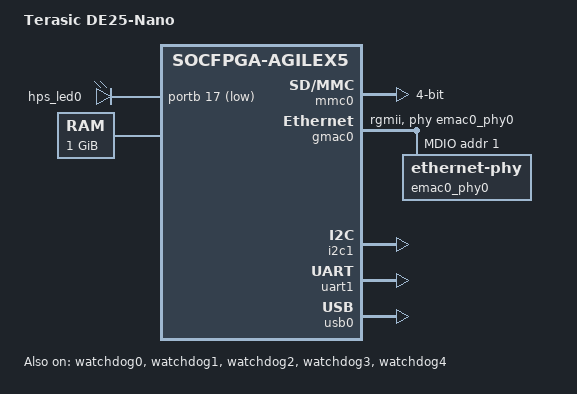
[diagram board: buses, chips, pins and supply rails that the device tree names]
// SPDX-License-Identifier: GPL-2.0-only
/*
 * Terasic DE25-Nano — Intel/Altera Agilex 5 (A5EB013BB23BE4S)
 *
 * Board device tree for MAINLINE Linux 7.2.x.  Authored against
 * arch/arm64/boot/dts/intel/socfpga_agilex5.dtsi as shipped in 7.2.2; every
 * node below is reconciled against the driver mainline actually binds, not
 * against what a vendor tree binds.  See docs/de25-dts-rationale.md for the
 * node-by-node provenance table and the SMMU/mmc0 decision.
 *
 * Reference files this was harvested from (all read-only, none copied
 * verbatim):
 *   TERASIC  github.com/terasic/linux-socfpga @ de25-nano-6.12.11-lts
 *            arch/arm64/boot/dts/intel/socfpga_agilex5_de25_nano.dts (+ .dtsi)
 *   ALTERA   github.com/altera-fpga/linux-socfpga @ socfpga-6.18.20-lts
 *            arch/arm64/boot/dts/intel/socfpga_agilex5_de25_nano.dts (+ .dtsi)
 *   FRIEND   /mnt/source/de25-linux (6.18.38 + vendor backports)
 *            arch/arm64/boot/dts/intel/socfpga_agilex5_de25_nano.dts (+ .dtsi)
 *   MAINLINE linux-7.2.2 arch/arm64/boot/dts/intel/socfpga_agilex5{,_socdk}.dts
 *
 * Copyright (C) 2023, Intel Corporation           (upstream socfpga_agilex5)
 * Copyright (C) 2025, Altera Corporation          (DE25-Nano board wiring)
 */

#include "arm64/intel/socfpga_agilex5.dtsi"

/ {
	/*
	 * MAINLINE + TERASIC + ALTERA + FRIEND all use the SoCDK compatible.
	 * It is factually wrong for a DE25-Nano, but the Agilex 5 board list in
	 * Documentation/devicetree/bindings/arm/altera.yaml is a closed five-value
	 * enum, so a "terasic,de25-nano" string would fail dtbs_check and buy
	 * nothing: arm64 has no machine-match table, so no code reads this.
	 * Board identity lives in "model" until an upstream altera.yaml patch lands.
	 */
	model = "Terasic DE25-Nano";
	compatible = "intel,socfpga-agilex5-socdk", "intel,socfpga-agilex5";

	aliases {
		/* Console UART: uart1 (serial@10c02100).  TERASIC, ALTERA and FRIEND
		 * all agree; MAINLINE's socdk board uses uart0, which is a different
		 * board.  See docs/de25-dts-rationale.md §"Console UART". */
		serial0 = &uart1;
		/* ethernet0 is LOAD-BEARING, not cosmetic: U-Boot's
		 * fdt_fixup_ethernet() walks /aliases for ethernetN and writes
		 * $ethaddr into the node it names.  Same lesson as the DE10
		 * (docs/dts-comparison.md §3.3).  TERASIC + ALTERA + FRIEND. */
		ethernet0 = &gmac0;
		/* ALTERA only.  Pins the sole enabled i2c adapter to /dev/i2c-1
		 * instead of letting it float on dynamic numbering — the DE10's
		 * A14 lesson (docs/dts-comparison.md §2) is that i2c adapter
		 * numbering is worth making deterministic. */
		i2c1 = &i2c1;
	};

	chosen {
		stdout-path = "serial0:115200n8";	/* TERASIC + ALTERA + FRIEND */
		/*
		 * No bootargs.  TERASIC and FRIEND carry a stale string whose
		 * console=/earlycon= name uart0's address (0x10c02000) while their
		 * own stdout-path names uart1 — self-contradictory, and dead in any
		 * case because U-Boot's fdt_chosen() overwrites /chosen/bootargs
		 * from $bootargs.  ALTERA's 2025 in-house file dropped it; so do we.
		 */
	};

	leds {
		compatible = "gpio-leds";

		/*
		 * Node name from ALTERA.  TERASIC/FRIEND call it "hps0", which does
		 * not match leds-gpio.yaml's child pattern "(^led-[0-9a-f]$|led)"
		 * and is therefore rejected by that binding's additionalProperties.
		 * The class-device name comes from "label", not the node name, so
		 * /sys/class/leds/hps_led0 is unchanged — same ABI as the DE10.
		 */
		led-0 {
			label = "hps_led0";
			gpios = <&portb 17 GPIO_ACTIVE_LOW>;	/* TERASIC + ALTERA + FRIEND */
		};
	};

	/*
	 * MAINLINE's socfpga_agilex5.dtsi has no memory node, so the board file
	 * must supply one.  1 GiB at 0x8000_0000 matches the *UM* and the DE25
	 * U-Boot DTS constant (de25-uboot-socfpga:.../socfpga_agilex5_de25_nano-
	 * u-boot.dtsi, "/* 1GB *\/  reg = <0 0x80000000 0 0x40000000>").
	 *
	 * Be precise about what that is: a DECLARED CONSTANT, not a measurement.
	 * The real size comes from the IO96B controller at runtime —
	 * sdram_agilex5.c computes hw_size from io96b_ctrl->overall_size, caps
	 * the DT value at it, and prints "DDR: Warning ..." on any mismatch —
	 * and U-Boot then rewrites Linux's node wholesale from bi_dram
	 * (arch/arm/lib/bootm-fdt.c fdt_fixup_memory_banks(),
	 * CONFIG_ARCH_FIXUP_FDT_MEMORY default y).  So this value is a fallback
	 * that only matters if that fixup does not run.
	 *
	 * It is still the right value to state.  TERASIC and FRIEND hard-code
	 * 2 GiB, which over-claims on a 1 GiB board; ALTERA and MAINLINE's socdk
	 * declare size 0, which boots nothing if the fixup is skipped.
	 * Under-claiming degrades gracefully where neither of those does.
	 * First-boot action: capture U-Boot's "DDR:" lines and confirm.
	 *
	 * Note the consequence for DMA: all DRAM lives in
	 * 0x8000_0000..0xBFFF_FFFF, i.e. entirely inside 32 bits.
	 */
	memory@80000000 {
		device_type = "memory";
		reg = <0x0 0x80000000 0x0 0x40000000>;
	};

	/*
	 * FPGA region.  Absent from every mainline base and authored here
	 * (docs/de25-implementation-path.md §3.1).
	 *
	 * Deliberately NO fpga-bridges property and NO bridge nodes: the
	 * Cyclone V fpga_bridge0..3 shape has no Agilex analogue and must not be
	 * transliterated (docs/de25-fpga-reconfig.md §4.2).  The SDM handles
	 * bridge state itself.
	 *
	 * config-complete-timeout-us is deliberately NOT set here — it belongs on
	 * the per-core OVERLAY, not on the base region (docs/de25-fpga-reconfig.md
	 * §4.3); of-fpga-region.c only reads it from the overlay's target.
	 */
	base_fpga_region: fpga-region {
		compatible = "fpga-region";
		#address-cells = <0x2>;
		#size-cells = <0x2>;
		fpga-mgr = <&fpga_mgr>;
	};
};

/*
 * MAINLINE 7.x ships /firmware/svc with compatible = "intel,agilex5-svc",
 * method = "smc", memory-region = <&service_reserved> and iommus = <&smmu 10>.
 * ALL of that is inherited unchanged — including the compatible.
 *
 * DEPENDENCY, stated plainly: "intel,agilex5-svc" is in the binding's enum but
 * has never been in stratix10_svc_drv_match[], so on a STOCK 7.2 kernel this
 * node is inert — of_platform_populate() skips it, no service device is
 * created, and the fpga-mgr child below has nothing to attach to.  This DTS
 * therefore depends on linux-patches/0102, which adds the match entry (or on
 * the equivalent landing upstream).  If 0102 is ever dropped, the fallback is a
 * one-line override here to compatible = "intel,agilex-svc", which is in both
 * the match table and the enum; see docs/de25-dts-rationale.md.
 *
 * Keeping the agilex5 string also keeps the binding's allOf satisfied: it
 * *requires* iommus for that compatible, and the inherited iommus = <&smmu 10>
 * supplies it.
 *
 * Three structural constraints ride on this subtree and are all satisfied by
 * MAINLINE's node shape, which we inherit rather than re-author:
 *   1. the node must literally be named "svc"      — stratix10-soc.c:471
 *      of_find_node_by_name(NULL, "svc")
 *   2. its parent must literally be named "firmware" — stratix10-svc.c:2086
 *      of_find_node_by_name(NULL, "firmware")
 *   3. method = "smc" must be present or probe fails -ENXIO — get_invoke_func()
 */
&{/firmware/svc} {
	/*
	 * Two-string fallback form.  OF matching walks the whole compatible list
	 * (drivers/of/base.c __of_device_is_compatible), and stratix10-soc.c's
	 * match table carries no per-compatible .data and never branches on which
	 * entry matched, so a fallback match is functionally identical to an exact
	 * one.  This binds the STOCK, unpatched driver.
	 *
	 * It does warn under dtbs_check today because
	 * intel,stratix10-soc-fpga-mgr.yaml is still a plain two-value enum;
	 * Khairul's v6 binding patch, which turns it into the items/oneOf form,
	 * has not landed at 7.2 or at master.  Accepted per
	 * docs/de25-implementation-path.md §2.5 — the warning disappears when that
	 * binding lands, and dropping the agilex5 string would lose SoC identity.
	 */
	fpga_mgr: fpga-mgr {
		compatible = "intel,agilex5-soc-fpga-mgr",
			     "intel,agilex-soc-fpga-mgr";
	};
};

/*
 * SMMU: DISABLED for wave 1 — a deliberate divergence from TERASIC, ALTERA and
 * FRIEND, all three of which set status = "okay".  This is MAINLINE 7.2's own
 * default (the node is enabled at master), and it is not a convenience: with
 * the SMMU ON, mainline's FPGA-configuration path CANNOT work on this SoC.
 *
 * Why, traced through mainline 7.2.2 source:
 *   - stratix10-svc.c:865-869  takes the shared-buffer address straight out of
 *     the INTEL_SIP_SMC_FPGA_CONFIG_GET_MEM SMC return (res.a1/res.a2).
 *   - :956                     devm_memremap()s that PHYSICAL address.
 *   - :1873-1876               gen_pool_virt_to_phys() puts PHYSICAL addresses
 *                              in the pool; :1780 copies one into pdata->paddr.
 *   - :607 (RECONFIG_DATA_SUBMIT) and :655 (FCS) hand that raw physical
 *     address to the SDM as SMC argument a1.
 *   - grep iommu_map|dma_map_single|dma_alloc over the whole file -> 0 hits.
 * Meanwhile the svc device inherits iommus = <&smmu 10>, and
 * arm_smmu_def_domain_type() (arm-smmu-v3.c:4294-4304) returns 0 for anything
 * non-PCI, so the core gives it the build default IOMMU_DEFAULT_DMA_STRICT —
 * a TRANSLATED domain over an empty page table.  Those physical addresses are
 * then unmapped IOVAs and the first RECONFIG_DATA_SUBMIT faults.
 *
 * That SDM traffic really does traverse the SMMU is not an assumption: it is
 * exactly what Terasic's vendor svc compensates for (IOVA carveout +
 * iommu_map(), a +0x80000000 offset, and an SDM remapper disable), none of
 * which exists in mainline at 6.18.44, 7.2 or master.
 *
 * SMMU-OFF is therefore the only configuration in which mainline's svc layer
 * can possibly program this fabric.  It is not *proven* to work either — the
 * vendor driver hard-fails without the SMMU, and mainline never touches the
 * remapper — but it is the leg to test first (de25-implementation-path.md
 * §2.6 step 4), and the closest supporting evidence is the friend's
 * iommu.passthrough=1 cold boot reaching a login prompt.
 *
 * Every iommus property in the tree is KEPT and simply goes inert:
 * of_iommu_xlate() returns -ENODEV for an unavailable IOMMU node
 * (drivers/iommu/of_iommu.c:28-29) and of_iommu_configure() treats -ENODEV as
 * "this device has no IOMMU", not as an error.  Every master then DMAs
 * physically, which is safe here because all DRAM is below 4 GiB.
 *
 * ALTERNATIVE, for the second leg of the §2.6 test — swap the line below for:
 *
 *	&smmu { status = "okay"; };
 *
 * and change NOTHING else.  Every iommus property (gmac0 1, mmc0 5, usb0 6,
 * dmac0 8, dmac1 9, svc 10) is already present and correct for that shape, and
 * it must stay that way: arm_smmu_init_initial_stes() fills EVERY stream-table
 * entry with arm_smmu_make_abort_ste() (arm-smmu-v3.c:1925-1934), so under an
 * ENABLED SMMU a master with no iommus property does not bypass — it aborts.
 */
&smmu {
	status = "disabled";
};

&soc {
	/*
	 * mmc0 is absent from EVERY mainline base (6.18.44, 7.2, master) and is
	 * the SD-boot gate.  Authored here in SD4HC form.
	 *
	 * reg / interrupts / resets / clocks / iommus / dma-coherent are
	 * byte-identical in TERASIC (:851-865) and FRIEND (:384-398), and ALTERA
	 * agrees on all of them except the reset list.  ALTERA's node is NOT
	 * usable: it declares "altr,agilex5-sd6hc","cdns,sd6hc", and cdns,sd6hc
	 * exists nowhere in mainline — it targets Altera's out-of-tree SD6HC
	 * driver rewrite (docs/de25-implementation-path.md §4.1).
	 *
	 * The compatible must be exactly this pair, vendor string FIRST:
	 * that is the items:[enum, const] form linux-patches/0101 adds to
	 * cdns,sdhci.yaml, and with 0101 applied the first entry wins and
	 * installs the 40-bit DMA mask.  A lone "cdns,sd4hc" would still bind —
	 * its absent .data is an explicitly supported path, sdhci_cdns_probe()
	 * falls back to &sdhci_cdns_drv_data on NULL — but it would bind
	 * SILENTLY WITHOUT the mask, which is the §8 Q2 failure.  On a stock
	 * 7.2.2 without 0101 the node degrades to exactly that, i.e. to today's
	 * behaviour, rather than failing to probe.
	 */
	mmc0: mmc@10808000 {
		compatible = "intel,agilex5-sd4hc", "cdns,sd4hc";
		reg = <0x10808000 0x1000>;			/* TERASIC + ALTERA + FRIEND */
		interrupts = <GIC_SPI 96 IRQ_TYPE_LEVEL_HIGH>;	/* TERASIC + ALTERA + FRIEND */
		resets = <&rst SDMMC_RESET>;			/* TERASIC + FRIEND */
		clocks = <&clkmgr AGILEX5_L4_MP_CLK>,		/* biu — TERASIC + ALTERA + FRIEND */
			 <&clkmgr AGILEX5_SDMCLK>;		/* ciu — TERASIC + ALTERA + FRIEND */
		clock-names = "biu", "ciu";

		/*
		 * SMMU decision (docs/de25-implementation-path.md §8 Q2).  KEPT, but
		 * INERT as shipped: &smmu is disabled above, so of_iommu_xlate()
		 * returns -ENODEV and mmc0 DMAs physically.  The property stays
		 * because it is correct hardware description and because it is
		 * mandatory the moment anyone flips &smmu to "okay" — under an
		 * enabled SMMU an undescribed master aborts rather than bypasses.
		 * With the SMMU off, the §8 Q2 40-bit truncation cannot bite at all:
		 * every DRAM address on this board is below 4 GiB.  linux-patches/0101
		 * is still correct and still wanted — it is what makes the SMMU-on leg
		 * of the §2.6 test survivable — it is just not load-bearing here.
		 */
		iommus = <&smmu 5>;				/* TERASIC + ALTERA + FRIEND */
		/*
		 * KEPT.  Corroborated inside MAINLINE itself: the sibling nand
		 * controller on this same SoC carries dma-coherent in
		 * socfpga_agilex5.dtsi:315, which is upstream's own statement that
		 * Agilex 5 HPS peripheral masters are coherent.  All three vendor
		 * trees agree.
		 *
		 * Caveat now that the SMMU is off: the vendor trees all assert this
		 * with the SMMU ON, where cacheability of the access comes from the
		 * STE/IOMMU_CACHE attributes rather than from the master's own
		 * dma-coherent property, so their evidence does NOT transfer
		 * unchanged to the SMMU-off shape.  Tagged [U2]: this must be
		 * re-checked by data integrity test in the shipped (SMMU-off)
		 * configuration, not inferred.  If reads come back corrupt, DELETE
		 * THIS LINE FIRST — treating a coherent master as non-coherent is
		 * always correct, merely slower; the converse silently corrupts.
		 */
		dma-coherent;

		/* ---- board wiring below this line ---- */

		bus-width = <4>;			/* TERASIC + ALTERA + FRIEND */

		/*
		 * FIRST-BOOT CLOCK CAP.  Mainline's sdhci-cadence programs NONE of the
		 * 40 cdns,phy-* values the vendor trees carry (its property table knows
		 * only eleven cdns,phy-input-delay-* / cdns,phy-dll-delay-* names,
		 * sdhci-cadence.c:108-119), so Linux inherits whatever PHY state U-Boot
		 * left behind rather than configuring it.  The ONLY boot of this board
		 * on a mainline sdhci-cadence driver — FRIEND,
		 * socfpga_agilex5_de25_nano.dts:110-126 — reached that state only after
		 * dropping high-speed advertisement and capping the clock at 25 MHz,
		 * following corrupted SD SCR reads.  Start where the one working data
		 * point is.  Lift this once a sustained dd read/write is clean; see
		 * docs/de25-dts-rationale.md [U3].
		 */
		max-frequency = <25000000>;		/* FRIEND */

		/*
		 * KEPT even though FRIEND drops it, because dropping it would be
		 * theatre: sdhci.c:4572 sets MMC_CAP_SD_HIGHSPEED from the capability
		 * register's SDHCI_CAN_DO_HISPD (bit 21) regardless of DT, and our
		 * sdhci-caps-mask does not clear that bit.  max-frequency above is the
		 * property that actually constrains the bus.  If a bench test ever
		 * needs genuine default-speed-only, the real lever is widening the caps
		 * mask to <0x00002000 0x0020ff00>, not deleting this line.
		 */
		cap-sd-highspeed;			/* TERASIC + ALTERA */
		disable-wp;				/* TERASIC + ALTERA + FRIEND — no WP switch wired */
		no-1-8-v;				/* TERASIC + FRIEND — 3.3V-only signalling */
		no-sdio;				/* TERASIC + FRIEND — SD card slot only */

		/*
		 * sdhci-caps / sdhci-caps-mask are LIVE on mainline: sdhci.c's
		 * __sdhci_read_caps() applies them to SDHCI_CAPABILITIES{,_1}.
		 * The uint64 is <caps1 caps>.  0xc800 in caps bits 15:8 sets the
		 * base clock to 0xc8 = 200 MHz; sdhci_cdns_ops has no
		 * .get_max_clock, so if the capability register reported 0 here
		 * probe would fail outright with "Hardware doesn't specify base
		 * clock frequency" (-ENODEV).  Both vendor trees set this, so it is
		 * treated as load-bearing rather than decorative.
		 * The caps1 mask clears bit 13 (SDHCI_USE_SDR50_TUNING).
		 * Values from TERASIC; ALTERA masks 0x2007 instead, additionally
		 * removing SDR50/SDR104/DDR50 — moot for us because no-1-8-v already
		 * bars every UHS mode.
		 */
		sdhci-caps = <0x00000000 0x0000c800>;
		sdhci-caps-mask = <0x00002000 0x0000ff00>;

		status = "okay";
	};
};

&gmac0 {
	status = "okay";			/* TERASIC + ALTERA + FRIEND */
	/* "rgmii", not "rgmii-id": ALTERA's file states the TX/RX delays are on
	 * the PCB, so asking the PHY for internal delay as well would double it.
	 * Same trap as the DE10's gmac1 (docs/dts-comparison.md §3.2). */
	phy-mode = "rgmii";			/* TERASIC + ALTERA + FRIEND */
	phy-handle = <&emac0_phy0>;
	max-frame-size = <9000>;		/* TERASIC + ALTERA + FRIEND */

	/*
	 * Node name "mdio0" is kept deliberately.  It does not match mdio.yaml's
	 * $nodename pattern, but it is what MAINLINE's own
	 * socfpga_agilex5_socdk.dts uses, so the warning is shared with the
	 * in-tree board and is not ours.  stmmac finds this node by scanning
	 * children for compatible = "snps,dwmac-mdio"
	 * (stmmac_platform.c stmmac_of_get_mdio()), never by node name, so the
	 * name is cosmetic at runtime.
	 */
	mdio0 {
		#address-cells = <1>;
		#size-cells = <0>;
		compatible = "snps,dwmac-mdio";

		/*
		 * FIXED relative to all three reference files, which write
		 * "ethernet-phy@0 { reg = <1>; }" — a unit-address/reg mismatch that
		 * dtc reports under -Wunit_address_vs_reg.  PHY address 1 is the real
		 * value (all three agree on reg); only the unit address was wrong.
		 * Provably a no-op: of_mdiobus_register() addresses the PHY from
		 * "reg", never from the unit address.
		 */
		emac0_phy0: ethernet-phy@1 {
			reg = <1>;
		};
	};
};

&gpio1 {
	status = "okay";			/* TERASIC + ALTERA + FRIEND — portb, used by led-0 */
};

&i2c1 {
	status = "okay";			/* TERASIC + ALTERA + FRIEND */
};

&uart1 {
	status = "okay";			/* TERASIC + ALTERA + FRIEND — console */
};

&usb0 {
	status = "okay";			/* TERASIC + ALTERA + FRIEND */
	/* dwc2 property, live on mainline (Documentation/.../usb/dwc2.yaml).
	 * No dr_mode: none of the three reference files sets one, so dwc2 reads
	 * the OTG capability out of the hardware.  Flagged [U] in the rationale. */
	disable-over-current;
};

/*
 * Watchdogs.  MAINLINE leaves all five disabled; TERASIC, ALTERA and FRIEND all
 * enable all five.  Kept at parity deliberately: dw_wdt sets WDOG_HW_RUNNING
 * when it finds the watchdog already started by firmware and the watchdog core
 * then pets it until userspace opens the device.  A watchdog started by the SPL
 * whose node is DISABLED in Linux is never petted and resets the board, so
 * enabling costs nothing and not enabling could cost a boot.
 *
 * Dropped from all five: nothing.  Dropped from watchdog4: TERASIC's
 * "disable-over-current", which is a copy-paste of the usb0 property onto a
 * watchdog — meaningless to snps,dw-wdt, absent from its binding, and carried
 * unchanged into ALTERA and FRIEND.
 */
&watchdog0 {
	status = "okay";
};

&watchdog1 {
	status = "okay";
};

&watchdog2 {
	status = "okay";
};

&watchdog3 {
	status = "okay";
};

&watchdog4 {
	status = "okay";
};

&osc1 {
	/*
	 * MAINLINE declares osc1 as a fixed-clock with clock-frequency = <0>;
	 * it is the root of the whole peripheral clock tree, so leaving it at 0
	 * yields a zero rate everywhere downstream.  25 MHz per TERASIC + ALTERA
	 * + FRIEND (and the DE25-Nano's 25 MHz HPS oscillator).
	 */
	clock-frequency = <25000000>;
};
